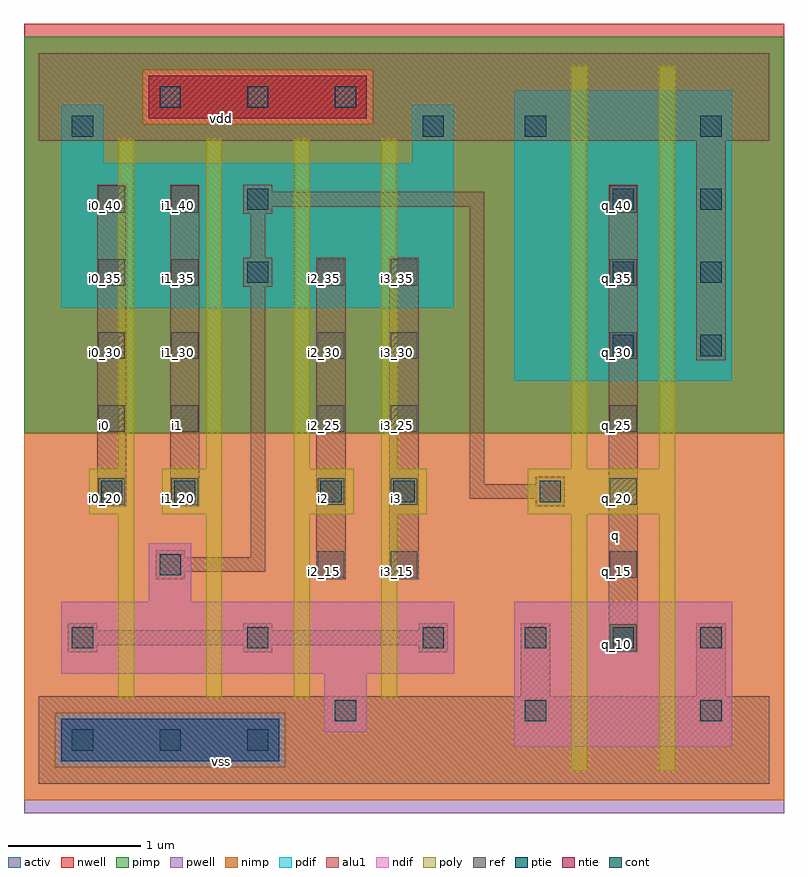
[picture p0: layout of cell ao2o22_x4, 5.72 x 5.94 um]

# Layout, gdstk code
import gdstk
lib = gdstk.Library(unit=1e-6, precision=2.5e-09)
def R(c, l, rs):  # rectangles x0, y0, x1, y1
    for r in rs: c.add(gdstk.rectangle(r[:2], r[2:], *l))
def A(c, l, x, y, w, h, nx, ny, dx, dy):  # array of equal rectangles
    R(c, l, [(x+i*dx, y+j*dy, x+i*dx+w, y+j*dy+h) for i in range(nx) for j in range(ny)])
ndif = (3, 0)
pdif = (4, 0)
ntie = (5, 0)
ptie = (6, 0)
ref = (24, 0)
cont = (25, 0)
pwell = (41, 0)
nwell = (42, 0)
activ = (43, 0)
pimp = (44, 0)
nimp = (45, 0)
poly = (46, 0)
alu1 = (49, 0)

ao2o22_x4 = lib.new_cell('ao2o22_x4')
R(ao2o22_x4, ndif, [(3.58,0.28,5.22,1.37), (3.58,0.28,5.22,1.37), (2.15,0.39,2.47,0.83), (2.15,0.39,2.47,0.83), (0.17,0.83,3.13,1.37), (0.17,0.83,3.13,1.37), (0.83,1.37,1.15,1.81), (0.83,1.37,1.15,1.81)])
R(ao2o22_x4, pdif, [(3.58,3.03,5.22,5.22), (3.58,3.03,5.22,5.22), (0.17,3.58,3.13,4.67), (0.17,3.58,3.13,4.67), (0.17,4.67,0.49,5.11), (0.17,4.67,0.49,5.11), (2.81,4.67,3.13,5.11), (2.81,4.67,3.13,5.11)])
R(ao2o22_x4, ntie, [(0.83,5.01,2.47,5.33), (0.83,5.01,2.47,5.33)])
R(ao2o22_x4, ptie, [(0.17,0.17,1.81,0.49), (0.17,0.17,1.81,0.49)])
A(ao2o22_x4, ref, 4.3, 1, 0.2, 0.2, 1, 7, 0, 0.55)
A(ao2o22_x4, ref, 2.1, 1.55, 0.2, 0.2, 1, 5, 0, 0.55)
A(ao2o22_x4, ref, 2.65, 1.55, 0.2, 0.2, 1, 5, 0, 0.55)
A(ao2o22_x4, ref, 0.45, 2.1, 0.2, 0.2, 1, 5, 0, 0.55)
A(ao2o22_x4, ref, 1, 2.1, 0.2, 0.2, 1, 5, 0, 0.55)
A(ao2o22_x4, cont, 0.25, 0.25, 0.16, 0.16, 3, 1, 0.66, 0)
A(ao2o22_x4, cont, 0.25, 1.02, 0.16, 0.16, 3, 1, 1.32, 0)
A(ao2o22_x4, cont, 3.66, 1.02, 0.16, 0.16, 3, 1, 0.66, 0)
A(ao2o22_x4, cont, 4.32, 3.22, 0.16, 0.16, 1, 3, 0, 0.55)
A(ao2o22_x4, cont, 4.98, 3.22, 0.16, 0.16, 1, 4, 0, 0.55)
A(ao2o22_x4, cont, 0.91, 5.09, 0.16, 0.16, 3, 1, 0.66, 0)
R(ao2o22_x4, cont, [(2.23,0.47,2.39,0.63), (3.66,0.47,3.82,0.63), (4.98,0.47,5.14,0.63), (0.91,1.57,1.07,1.73), (0.47,2.12,0.63,2.28), (1.02,2.12,1.18,2.28), (2.12,2.12,2.28,2.28), (2.67,2.12,2.83,2.28), (3.77,2.12,3.93,2.28), (1.57,3.77,1.73,3.93), (1.57,4.32,1.73,4.48), (0.25,4.87,0.41,5.03), (2.89,4.87,3.05,5.03), (3.66,4.87,3.82,5.03)])
R(ao2o22_x4, pwell, [(-0.11,-0.22,5.61,2.64)])
R(ao2o22_x4, nwell, [(-0.11,2.64,5.61,5.72)])
R(ao2o22_x4, activ, [(0.17,0.17,1.81,0.49), (0.17,0.17,1.81,0.49), (3.58,0.28,5.22,1.37), (3.58,0.28,5.22,1.37), (2.15,0.39,2.47,0.83), (2.15,0.39,2.47,0.83), (0.17,0.83,3.13,1.37), (0.17,0.83,3.13,1.37), (0.83,1.37,1.15,1.81), (0.83,1.37,1.15,1.81), (3.58,3.03,5.22,5.22), (3.58,3.03,5.22,5.22), (0.17,3.58,3.13,4.67), (0.17,3.58,3.13,4.67), (0.17,4.67,0.49,5.11), (0.17,4.67,0.49,5.11), (2.81,4.67,3.13,5.11), (2.81,4.67,3.13,5.11), (0.83,5.01,2.47,5.33), (0.83,5.01,2.47,5.33)])
R(ao2o22_x4, pimp, [(0.125,0.125,1.855,0.535), (-0.11,2.64,5.61,4.965), (-0.11,4.965,0.785,5.375), (2.515,4.965,5.61,5.375), (-0.11,5.375,5.61,5.625)])
R(ao2o22_x4, nimp, [(-0.11,-0.125,5.61,0.125), (-0.11,0.125,0.125,0.535), (1.855,0.125,5.61,0.535), (-0.11,0.535,5.61,2.64), (0.785,4.965,2.515,5.375)])
A(ao2o22_x4, poly, 0.6, 0.65, 0.12, 1.38, 4, 1, 0.66, 0)
A(ao2o22_x4, poly, 0.6, 2.37, 0.12, 2.48, 4, 1, 0.66, 0)
R(ao2o22_x4, poly, [(4.01,0.1,4.13,2.03), (4.67,0.1,4.79,2.03), (0.38,2.03,0.72,2.37), (0.93,2.03,1.38,2.37), (1.92,2.03,2.37,2.37), (2.58,2.03,2.92,2.37), (3.68,2.03,4.79,2.37), (4.01,2.37,4.13,5.4), (4.67,2.37,4.79,5.4)])
A(ao2o22_x4, alu1, 0.22, 0.99, 0.22, 0.055, 3, 2, 1.32, 0.165)
R(ao2o22_x4, alu1, [(0,0,5.5,0.66), (3.63,0.66,3.85,1.21), (4.95,0.66,5.17,1.21), (4.29,0.99,4.51,4.51), (0.22,1.045,3.08,1.155), (0.88,1.54,1.1,1.595), (2.09,1.54,2.31,3.96), (2.64,1.54,2.86,3.96), (0.88,1.595,1.705,1.705), (0.88,1.705,1.1,1.76), (1.595,1.705,1.705,3.74), (0.44,2.09,0.66,4.51), (0.99,2.09,1.21,4.51), (3.74,2.09,3.96,2.145), (3.245,2.145,3.96,2.255), (3.245,2.255,3.355,4.345), (3.74,2.255,3.96,2.31), (4.95,3.19,5.17,4.84), (1.54,3.74,1.76,3.96), (1.595,3.96,1.705,4.29), (1.54,4.29,1.76,4.345), (1.54,4.345,3.355,4.455), (1.54,4.455,1.76,4.51), (0,4.84,5.5,5.5)])
ao2o22_x4.add(gdstk.Label('vss', (1.375,0.165), layer=49, texttype=0))
ao2o22_x4.add(gdstk.Label('q', (4.345,1.87), layer=49, texttype=0))
ao2o22_x4.add(gdstk.Label('i3', (2.695,2.145), layer=49, texttype=0))
ao2o22_x4.add(gdstk.Label('i2', (2.145,2.145), layer=49, texttype=0))
ao2o22_x4.add(gdstk.Label('i1', (1.045,2.695), layer=49, texttype=0))
ao2o22_x4.add(gdstk.Label('i0', (0.495,2.695), layer=49, texttype=0))
ao2o22_x4.add(gdstk.Label('vdd', (1.375,5.005), layer=49, texttype=0))
ao2o22_x4.add(gdstk.Label('i0_20', (0.5,2.15), layer=24, texttype=0))
ao2o22_x4.add(gdstk.Label('i0_25', (0.5,2.7), layer=24, texttype=0))
ao2o22_x4.add(gdstk.Label('i0_30', (0.5,3.25), layer=24, texttype=0))
ao2o22_x4.add(gdstk.Label('i1_30', (1.05,3.25), layer=24, texttype=0))
ao2o22_x4.add(gdstk.Label('i1_25', (1.05,2.7), layer=24, texttype=0))
ao2o22_x4.add(gdstk.Label('i1_20', (1.05,2.15), layer=24, texttype=0))
ao2o22_x4.add(gdstk.Label('i2_15', (2.15,1.6), layer=24, texttype=0))
ao2o22_x4.add(gdstk.Label('i2_20', (2.15,2.15), layer=24, texttype=0))
ao2o22_x4.add(gdstk.Label('i2_25', (2.15,2.7), layer=24, texttype=0))
ao2o22_x4.add(gdstk.Label('i2_30', (2.15,3.25), layer=24, texttype=0))
ao2o22_x4.add(gdstk.Label('i3_30', (2.7,3.25), layer=24, texttype=0))
ao2o22_x4.add(gdstk.Label('i3_25', (2.7,2.7), layer=24, texttype=0))
ao2o22_x4.add(gdstk.Label('i3_20', (2.7,2.15), layer=24, texttype=0))
ao2o22_x4.add(gdstk.Label('i3_15', (2.7,1.6), layer=24, texttype=0))
ao2o22_x4.add(gdstk.Label('i0_35', (0.5,3.8), layer=24, texttype=0))
ao2o22_x4.add(gdstk.Label('i0_40', (0.5,4.35), layer=24, texttype=0))
ao2o22_x4.add(gdstk.Label('i1_40', (1.05,4.35), layer=24, texttype=0))
ao2o22_x4.add(gdstk.Label('i1_35', (1.05,3.8), layer=24, texttype=0))
ao2o22_x4.add(gdstk.Label('i2_35', (2.15,3.8), layer=24, texttype=0))
ao2o22_x4.add(gdstk.Label('i3_35', (2.7,3.8), layer=24, texttype=0))
ao2o22_x4.add(gdstk.Label('q_40', (4.35,4.35), layer=24, texttype=0))
ao2o22_x4.add(gdstk.Label('q_20', (4.35,2.15), layer=24, texttype=0))
ao2o22_x4.add(gdstk.Label('q_30', (4.35,3.25), layer=24, texttype=0))
ao2o22_x4.add(gdstk.Label('q_35', (4.35,3.8), layer=24, texttype=0))
ao2o22_x4.add(gdstk.Label('q_25', (4.35,2.7), layer=24, texttype=0))
ao2o22_x4.add(gdstk.Label('q_15', (4.35,1.6), layer=24, texttype=0))
ao2o22_x4.add(gdstk.Label('q_10', (4.35,1.05), layer=24, texttype=0))

lib.write_gds('ao2o22_x4.gds')
